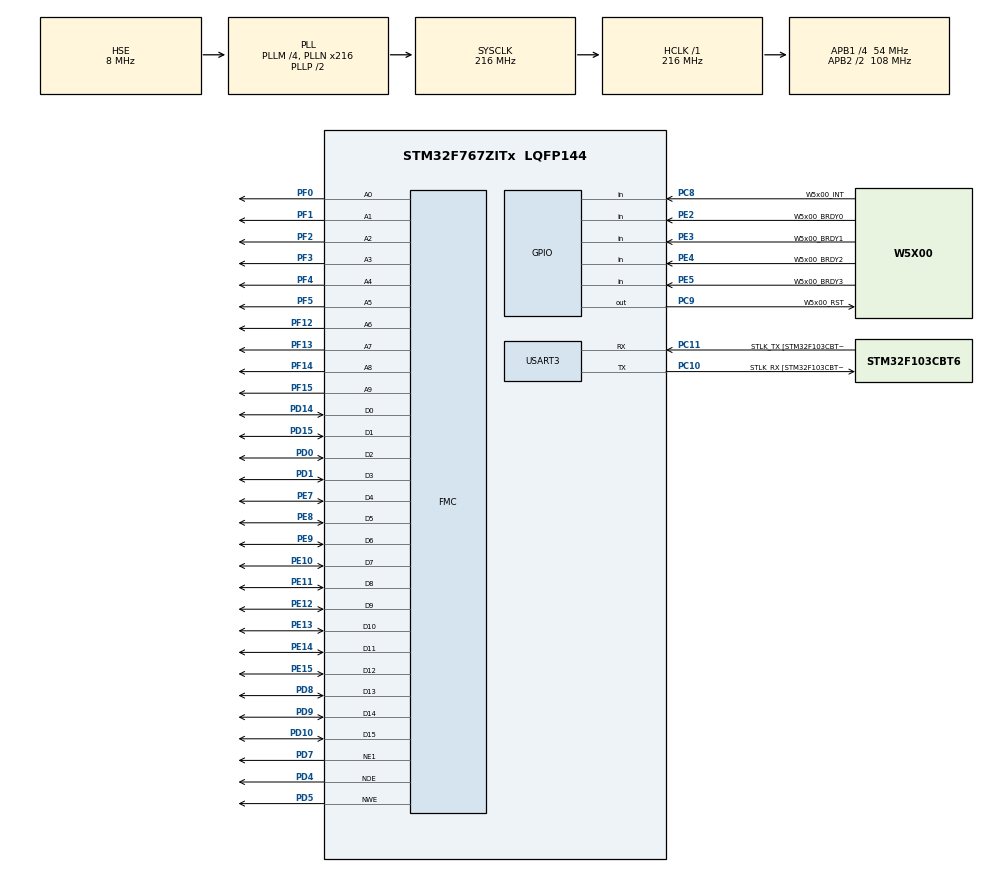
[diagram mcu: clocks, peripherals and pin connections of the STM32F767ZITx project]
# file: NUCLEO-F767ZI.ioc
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FMC.WriteOperation1=FMC_WRITE_OPERATION_ENABLE
Mcu.Family=STM32F7
Mcu.Name=STM32F767ZITx
Mcu.Package=LQFP144
NVIC.PriorityGroup=NVIC_PRIORITYGROUP_4
PA13.GPIO_Label=TMS
PA13.Mode=Serial_Wire
PA13.Signal=SYS_JTMS-SWDIO
PA14.GPIO_Label=TCK
PA14.Mode=Serial_Wire
PA14.Signal=SYS_JTCK-SWCLK
PC10.GPIO_Label=STLK_RX [STM32F103CBT6_PA3]
PC10.Mode=Asynchronous
PC10.Signal=USART3_TX
PC11.GPIO_Label=STLK_TX [STM32F103CBT6_PA2]
PC11.Mode=Asynchronous
PC11.Signal=USART3_RX
PC14/OSC32_IN.Mode=LSE-External-Oscillator
PC14/OSC32_IN.Signal=RCC_OSC32_IN
PC15/OSC32_OUT.Mode=LSE-External-Oscillator
PC15/OSC32_OUT.Signal=RCC_OSC32_OUT
PC8.GPIO_Label=W5x00_INT
PC8.Signal=GPIO_Input
PC9.GPIO_Label=W5x00_RST
PC9.GPIO_PuPd=GPIO_PULLUP
PC9.PinState=GPIO_PIN_SET
PC9.Signal=GPIO_Output
PD0.Signal=FMC_D2_DA2
PD1.Signal=FMC_D3_DA3
PD10.Signal=FMC_D15_DA15
PD14.Signal=FMC_D0_DA0
PD15.Signal=FMC_D1_DA1
PD4.Signal=FMC_NOE
PD5.Signal=FMC_NWE
PD7.Mode=NorPsramChipSelect1_1
PD7.Signal=FMC_NE1
PD8.Signal=FMC_D13_DA13
PD9.Signal=FMC_D14_DA14
PE10.Signal=FMC_D7_DA7
PE11.Signal=FMC_D8_DA8
PE12.Signal=FMC_D9_DA9
PE13.Signal=FMC_D10_DA10
PE14.Signal=FMC_D11_DA11
PE15.Signal=FMC_D12_DA12
PE2.GPIO_Label=W5x00_BRDY0
PE2.Signal=GPIO_Input
PE3.GPIO_Label=W5x00_BRDY1
PE3.Signal=GPIO_Input
PE4.GPIO_Label=W5x00_BRDY2
PE4.Signal=GPIO_Input
PE5.GPIO_Label=W5x00_BRDY3
PE5.Signal=GPIO_Input
PE7.Signal=FMC_D4_DA4
PE8.Signal=FMC_D5_DA5
PE9.Signal=FMC_D6_DA6
PF0.Signal=FMC_A0
PF1.Signal=FMC_A1
PF12.Signal=FMC_A6
PF13.Signal=FMC_A7
PF14.Signal=FMC_A8
PF15.Signal=FMC_A9
PF2.Signal=FMC_A2
PF3.Signal=FMC_A3
PF4.Signal=FMC_A4
PF5.Signal=FMC_A5
PH0/OSC_IN.GPIO_Label=MCO [STM32F103CBT6_PA8]
PH0/OSC_IN.Mode=HSE-External-Clock-Source
PH0/OSC_IN.Signal=RCC_OSC_IN
PH1/OSC_OUT.Mode=HSE-External-Clock-Source
PH1/OSC_OUT.Signal=RCC_OSC_OUT
ProjectManager.HeapSize=0x10000
ProjectManager.StackSize=0x8000
ProjectManager.TargetToolchain=MDK-ARM V5.32
RCC.48MHZClocksFreq_Value=24000000
RCC.AHBFreq_Value=216000000
RCC.APB1CLKDivider=RCC_HCLK_DIV4
RCC.APB1Freq_Value=54000000
RCC.APB1TimFreq_Value=108000000
RCC.APB2CLKDivider=RCC_HCLK_DIV2
RCC.APB2Freq_Value=108000000
RCC.APB2TimFreq_Value=216000000
RCC.CortexFreq_Value=216000000
RCC.HCLKFreq_Value=216000000
RCC.HSE_VALUE=8000000
RCC.HSI_VALUE=16000000
RCC.PLLM=4
RCC.PLLMUL=RCC_PLL_MUL9
RCC.PLLN=216
RCC.PLLQ=4
RCC.PLLSourceVirtual=RCC_PLLSOURCE_HSE
RCC.PRESCALERUSB=RCC_USBCLKSOURCE_PLL_DIV1_5
RCC.SYSCLKFreq_VALUE=216000000
RCC.SYSCLKSource=RCC_SYSCLKSOURCE_PLLCLK
RCC.SYSCLKSourceVirtual=RCC_SYSCLKSOURCE_PLLCLK
RCC.USBFreq_Value=108000000
RCC.VCOOutputFreq_Value=432000000
SH.FMC_A0.0=FMC_A0,10b-a1
SH.FMC_A1.0=FMC_A1,10b-a1
SH.FMC_A2.0=FMC_A2,10b-a1
SH.FMC_A3.0=FMC_A3,10b-a1
SH.FMC_A4.0=FMC_A4,10b-a1
SH.FMC_A5.0=FMC_A5,10b-a1
SH.FMC_A6.0=FMC_A6,10b-a1
SH.FMC_A7.0=FMC_A7,10b-a1
SH.FMC_A8.0=FMC_A8,10b-a1
SH.FMC_A9.0=FMC_A9,10b-a1
SH.FMC_D0_DA0.0=FMC_D0,16b-d1
SH.FMC_D10_DA10.0=FMC_D10,16b-d1
SH.FMC_D11_DA11.0=FMC_D11,16b-d1
SH.FMC_D12_DA12.0=FMC_D12,16b-d1
SH.FMC_D13_DA13.0=FMC_D13,16b-d1
SH.FMC_D14_DA14.0=FMC_D14,16b-d1
SH.FMC_D15_DA15.0=FMC_D15,16b-d1
SH.FMC_D1_DA1.0=FMC_D1,16b-d1
SH.FMC_D2_DA2.0=FMC_D2,16b-d1
SH.FMC_D3_DA3.0=FMC_D3,16b-d1
SH.FMC_D4_DA4.0=FMC_D4,16b-d1
SH.FMC_D5_DA5.0=FMC_D5,16b-d1
SH.FMC_D6_DA6.0=FMC_D6,16b-d1
SH.FMC_D7_DA7.0=FMC_D7,16b-d1
SH.FMC_D8_DA8.0=FMC_D8,16b-d1
SH.FMC_D9_DA9.0=FMC_D9,16b-d1
SH.FMC_NOE.0=FMC_NOE,Sram1
SH.FMC_NWE.0=FMC_NWE,Sram1
USART3.VirtualMode-Asynchronous=VM_ASYNC
board=NUCLEO-F767ZI

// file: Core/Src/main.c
/* USER CODE BEGIN Header */
/**
  ******************************************************************************
  * @file           : main.c
  * @brief          : Main program body
  ******************************************************************************
  * @attention
  *
  * Copyright (c) 2023 STMicroelectronics.
  * All rights reserved.
  *
  * This software is licensed under terms that can be found in the LICENSE file
  * in the root directory of this software component.
  * If no LICENSE file comes with this software, it is provided AS-IS.
  *
  ******************************************************************************
  */
/* USER CODE END Header */
#include "main.h"

/* USER CODE BEGIN Includes */
#include <stdio.h>

#include "wizchip_conf.h"
#include "w5x00_demo.h"
/* USER CODE END Includes */

/* USER CODE BEGIN PM */
#ifdef __GNUC__
/* With GCC/RAISONANCE, small printf (option LD Linker->Libraries->Small printf set to 'Yes') calls __io_putchar() */
#define PUTCHAR_PROTOTYPE int __io_putchar(int ch)
#else
#define PUTCHAR_PROTOTYPE int fputc(int ch, FILE *f)
#endif /* __GNUC__ */
/* USER CODE END PM */

UART_HandleTypeDef huart3;

SRAM_HandleTypeDef hsram1;

void SystemClock_Config(void);
static void MX_GPIO_Init(void);
static void MX_USART3_UART_Init(void);
static void MX_FMC_Init(void);
/* USER CODE BEGIN PFP */
/**
 * @brief  Retargets the C library printf function to the USART.
 * @param  None
 * @retval None
 */
PUTCHAR_PROTOTYPE
{
  /* Place your implementation of fputc here */
  /* e.g. write a character to the USART3 and Loop until the end of transmission */
  HAL_UART_Transmit(&huart3, (uint8_t *)&ch, 1, 0xFF);

  return ch;
}
/* USER CODE END PFP */

int main(void)
{
  /* USER CODE BEGIN 1 */
  wiz_NetInfo net_info =
      {
          .mac = {0x00, 0x08, 0xDC, 0x12, 0x34, 0x56}, // MAC address
          .ip = {192, 168, 11, 2},                     // IP address
          .sn = {255, 255, 255, 0},                    // Subnet Mask
          .gw = {192, 168, 11, 1},                     // Gateway
          .dns = {8, 8, 8, 8},                         // DNS server
#ifdef APP_DHCP
          .dhcp = NETINFO_DHCP                         // Dynamic IP
#else
          .dhcp = NETINFO_STATIC                       // Static IP
#endif
      };
  /* USER CODE END 1 */

  /* MCU Configuration--------------------------------------------------------*/

  /* Reset of all peripherals, Initializes the Flash interface and the Systick. */
  HAL_Init();

  /* Configure the system clock */
  SystemClock_Config();

  /* Initialize all configured peripherals */
  MX_GPIO_Init();
  MX_USART3_UART_Init();
  MX_FMC_Init();
  /* USER CODE BEGIN 2 */
// ----------------------------------------------------------------------------------------------------
// Call main function - example funcion
// Select one application
// ----------------------------------------------------------------------------------------------------
#ifdef APP_DHCP
  dhcp_demo(&net_info);
#endif /* APP_DHCP */
#ifdef APP_DNS
  dns_demo(&net_info);
#endif /* APP_DNS */
#ifdef APP_HTTP_SERVER
  http_server_demo(&net_info);
#endif /* APP_HTTP_SERVER */
#ifdef APP_MQTT_PUBLISH
  mqtt_publish_demo(&net_info);
#endif /* APP_MQTT_PUBLISH */
#ifdef APP_MQTT_SUBSCRIBE
  mqtt_subscribe_demo(&net_info);
#endif /* APP_MQTT_SUBSCRIBE */
#ifdef APP_MQTT_PUBLISH_SUBSCRIBE
  mqtt_publish_subscribe_demo(&net_info);
#endif /* APP_MQTT_PUBLISH_SUBSCRIBE */
#ifdef APP_SNTP
  sntp_demo(&net_info);
#endif /* APP_SNTP */
#ifdef APP_TCP_CLIENT_OVER_SSL
  tcp_client_over_ssl_demo(&net_info);
#endif /* APP_TCP_CLIENT_OVER_SSL */
#ifdef APP_LOOPBACK
  loopback_demo(&net_info);
#endif /* APP_LOOPBACK */
// ----------------------------------------------------------------------------------------------------
  /* USER CODE END 2 */

  /* Infinite loop */
  while (1)
  {

  }
}

void SystemClock_Config(void)
{
  RCC_OscInitTypeDef RCC_OscInitStruct = {0};
  RCC_ClkInitTypeDef RCC_ClkInitStruct = {0};

  /** Configure LSE Drive Capability
  */
  HAL_PWR_EnableBkUpAccess();

  /** Configure the main internal regulator output voltage
  */
  __HAL_RCC_PWR_CLK_ENABLE();
  __HAL_PWR_VOLTAGESCALING_CONFIG(PWR_REGULATOR_VOLTAGE_SCALE1);

  /** Initializes the RCC Oscillators according to the specified parameters
  * in the RCC_OscInitTypeDef structure.
  */
  RCC_OscInitStruct.OscillatorType = RCC_OSCILLATORTYPE_HSE;
  RCC_OscInitStruct.HSEState = RCC_HSE_BYPASS;
  RCC_OscInitStruct.PLL.PLLState = RCC_PLL_ON;
  RCC_OscInitStruct.PLL.PLLSource = RCC_PLLSOURCE_HSE;
  RCC_OscInitStruct.PLL.PLLM = 4;
  RCC_OscInitStruct.PLL.PLLN = 216;
  RCC_OscInitStruct.PLL.PLLP = RCC_PLLP_DIV2;
  RCC_OscInitStruct.PLL.PLLQ = 4;
  RCC_OscInitStruct.PLL.PLLR = 2;
  if (HAL_RCC_OscConfig(&RCC_OscInitStruct) != HAL_OK)
  {
    Error_Handler();
  }

  /** Activate the Over-Drive mode
  */
  if (HAL_PWREx_EnableOverDrive() != HAL_OK)
  {
    Error_Handler();
  }

  /** Initializes the CPU, AHB and APB buses clocks
  */
  RCC_ClkInitStruct.ClockType = RCC_CLOCKTYPE_HCLK|RCC_CLOCKTYPE_SYSCLK
                              |RCC_CLOCKTYPE_PCLK1|RCC_CLOCKTYPE_PCLK2;
  RCC_ClkInitStruct.SYSCLKSource = RCC_SYSCLKSOURCE_PLLCLK;
  RCC_ClkInitStruct.AHBCLKDivider = RCC_SYSCLK_DIV1;
  RCC_ClkInitStruct.APB1CLKDivider = RCC_HCLK_DIV4;
  RCC_ClkInitStruct.APB2CLKDivider = RCC_HCLK_DIV2;

  if (HAL_RCC_ClockConfig(&RCC_ClkInitStruct, FLASH_LATENCY_7) != HAL_OK)
  {
    Error_Handler();
  }
}

static void MX_USART3_UART_Init(void)
{

  huart3.Instance = USART3;
  huart3.Init.BaudRate = 115200;
  huart3.Init.WordLength = UART_WORDLENGTH_8B;
  huart3.Init.StopBits = UART_STOPBITS_1;
  huart3.Init.Parity = UART_PARITY_NONE;
  huart3.Init.Mode = UART_MODE_TX_RX;
  huart3.Init.HwFlowCtl = UART_HWCONTROL_NONE;
  huart3.Init.OverSampling = UART_OVERSAMPLING_16;
  huart3.Init.OneBitSampling = UART_ONE_BIT_SAMPLE_DISABLE;
  huart3.AdvancedInit.AdvFeatureInit = UART_ADVFEATURE_NO_INIT;
  if (HAL_UART_Init(&huart3) != HAL_OK)
  {
    Error_Handler();
  }

}

/* FMC initialization function */
static void MX_FMC_Init(void)
{

  FMC_NORSRAM_TimingTypeDef Timing = {0};

  /** Perform the SRAM1 memory initialization sequence
  */
  hsram1.Instance = FMC_NORSRAM_DEVICE;
  hsram1.Extended = FMC_NORSRAM_EXTENDED_DEVICE;
  /* hsram1.Init */
  hsram1.Init.NSBank = FMC_NORSRAM_BANK1;
  hsram1.Init.DataAddressMux = FMC_DATA_ADDRESS_MUX_DISABLE;
  hsram1.Init.MemoryType = FMC_MEMORY_TYPE_SRAM;
  hsram1.Init.MemoryDataWidth = FMC_NORSRAM_MEM_BUS_WIDTH_16;
  hsram1.Init.BurstAccessMode = FMC_BURST_ACCESS_MODE_DISABLE;
  hsram1.Init.WaitSignalPolarity = FMC_WAIT_SIGNAL_POLARITY_LOW;
  hsram1.Init.WaitSignalActive = FMC_WAIT_TIMING_BEFORE_WS;
  hsram1.Init.WriteOperation = FMC_WRITE_OPERATION_ENABLE;
  hsram1.Init.WaitSignal = FMC_WAIT_SIGNAL_DISABLE;
  hsram1.Init.ExtendedMode = FMC_EXTENDED_MODE_DISABLE;
  hsram1.Init.AsynchronousWait = FMC_ASYNCHRONOUS_WAIT_DISABLE;
  hsram1.Init.WriteBurst = FMC_WRITE_BURST_DISABLE;
  hsram1.Init.ContinuousClock = FMC_CONTINUOUS_CLOCK_SYNC_ONLY;
  hsram1.Init.WriteFifo = FMC_WRITE_FIFO_ENABLE;
  hsram1.Init.PageSize = FMC_PAGE_SIZE_NONE;
  /* Timing */
  Timing.AddressSetupTime = 15;
  Timing.AddressHoldTime = 15;
  Timing.DataSetupTime = 255;
  Timing.BusTurnAroundDuration = 15;
  Timing.CLKDivision = 16;
  Timing.DataLatency = 17;
  Timing.AccessMode = FMC_ACCESS_MODE_A;
  /* ExtTiming */

  if (HAL_SRAM_Init(&hsram1, &Timing, NULL) != HAL_OK)
  {
    Error_Handler( );
  }

  /* USER CODE BEGIN FMC_Init 2 */
  // overwrite
  Timing.AddressSetupTime = 1;
  Timing.AddressHoldTime = 1;
  Timing.DataSetupTime = 7;
  Timing.BusTurnAroundDuration = 0;
  Timing.CLKDivision = 2;
  Timing.DataLatency = 2;
  Timing.AccessMode = FMC_ACCESS_MODE_A;

  if (HAL_SRAM_Init(&hsram1, &Timing, NULL) != HAL_OK)
  {
    Error_Handler();
  }
  /* USER CODE END FMC_Init 2 */
}

static void MX_GPIO_Init(void)
{
  GPIO_InitTypeDef GPIO_InitStruct = {0};

  /* GPIO Ports Clock Enable */
  __HAL_RCC_GPIOE_CLK_ENABLE();
  __HAL_RCC_GPIOC_CLK_ENABLE();
  __HAL_RCC_GPIOF_CLK_ENABLE();
  __HAL_RCC_GPIOH_CLK_ENABLE();
  __HAL_RCC_GPIOD_CLK_ENABLE();
  __HAL_RCC_GPIOA_CLK_ENABLE();

  /*Configure GPIO pin Output Level */
  HAL_GPIO_WritePin(W5x00_RST_GPIO_Port, W5x00_RST_Pin, GPIO_PIN_SET);

  /*Configure GPIO pins : W5x00_BRDY0_Pin W5x00_BRDY1_Pin W5x00_BRDY2_Pin W5x00_BRDY3_Pin */
  GPIO_InitStruct.Pin = W5x00_BRDY0_Pin|W5x00_BRDY1_Pin|W5x00_BRDY2_Pin|W5x00_BRDY3_Pin;
  GPIO_InitStruct.Mode = GPIO_MODE_INPUT;
  GPIO_InitStruct.Pull = GPIO_NOPULL;
  HAL_GPIO_Init(GPIOE, &GPIO_InitStruct);

  /*Configure GPIO pin : W5x00_INT_Pin */
  GPIO_InitStruct.Pin = W5x00_INT_Pin;
  GPIO_InitStruct.Mode = GPIO_MODE_INPUT;
  GPIO_InitStruct.Pull = GPIO_NOPULL;
  HAL_GPIO_Init(W5x00_INT_GPIO_Port, &GPIO_InitStruct);

  /*Configure GPIO pin : W5x00_RST_Pin */
  GPIO_InitStruct.Pin = W5x00_RST_Pin;
  GPIO_InitStruct.Mode = GPIO_MODE_OUTPUT_PP;
  GPIO_InitStruct.Pull = GPIO_PULLUP;
  GPIO_InitStruct.Speed = GPIO_SPEED_FREQ_LOW;
  HAL_GPIO_Init(W5x00_RST_GPIO_Port, &GPIO_InitStruct);

}

void Error_Handler(void)
{
  __disable_irq();
  while (1)
  {
  }
}
